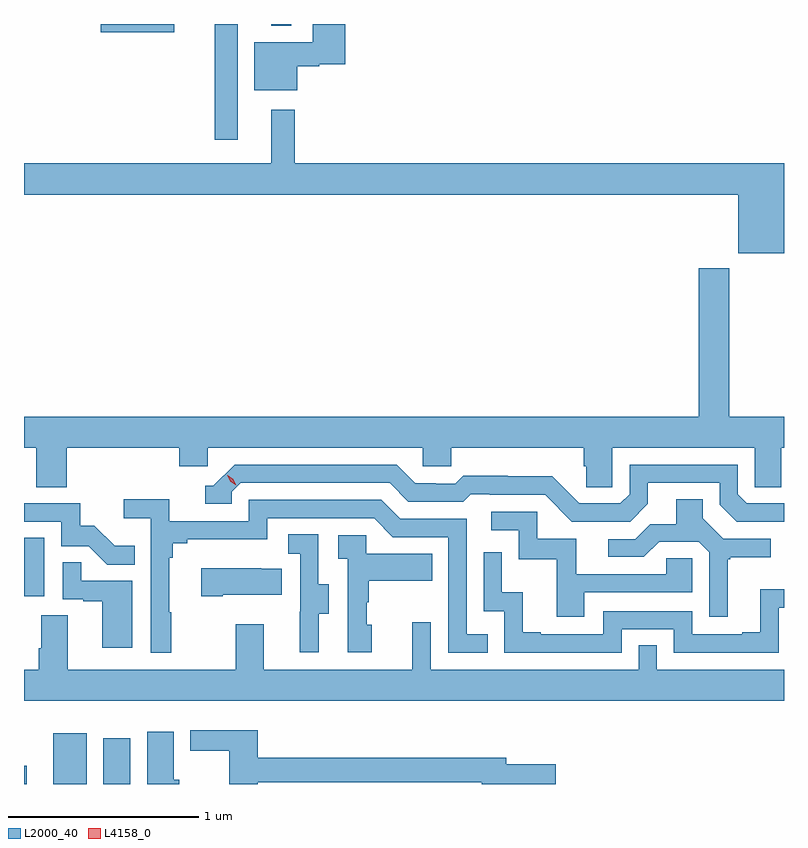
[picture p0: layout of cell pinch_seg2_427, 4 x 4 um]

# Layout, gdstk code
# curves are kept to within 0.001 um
import gdstk
lib = gdstk.Library(unit=1e-6, precision=1e-09)
def R(c, l, rs):  # rectangles x0, y0, x1, y1
    for r in rs: c.add(gdstk.rectangle(r[:2], r[2:], *l))
def P(c, l, *ps):  # polygons
    for p in ps: c.add(gdstk.Polygon(p, *l))
L2000_40 = (2000, 40)
L4158_0 = (4158, 0)

pinch_seg2_427 = lib.new_cell('pinch_seg2_427')
R(pinch_seg2_427, L2000_40, [(935.273,613.898,935.287,613.993), (935.426,613.898,935.602,614.164), (935.69,613.898,935.833,614.14), (935.273,614.886,935.38,615.193), (936.276,617.289,936.397,617.898), (935.676,617.855,936.064,617.898), (936.575,617.888,936.679,617.898)])
P(pinch_seg2_427, L2000_40, [(936.712,617.675),(936.828,617.675),(936.828,617.687),(936.965,617.687),(936.965,617.898),(936.794,617.898),(936.794,617.803),(936.485,617.803),(936.485,617.549),(936.712,617.549)],
  [(939.273,617.164),(936.697,617.164),(936.697,617.446),(936.575,617.446),(936.575,617.164),(935.273,617.164),(935.273,617),(939.032,617),(939.032,616.691),(939.273,616.691)],
  [(935.498,615.668),(936.089,615.668),(936.089,615.57),(936.24,615.57),(936.24,615.668),(937.371,615.668),(937.371,615.57),(937.521,615.57),(937.521,615.668),(938.219,615.668),(938.219,615.57),(938.233,615.57),(938.233,615.46),(938.37,615.46),(938.37,615.668),(939.12,615.668),(939.12,615.46),(939.259,615.46),(939.259,615.668),(939.273,615.668),(939.273,615.832),(938.985,615.832),(938.985,616.612),(938.825,616.612),(938.825,615.832),(935.273,615.832),(935.273,615.668),(935.338,615.668),(935.338,615.46),(935.498,615.46)],
  [(939.273,615.375),(939.078,615.375),(939.03,615.423),(939.03,615.579),(938.46,615.579),(938.46,615.423),(938.412,615.375),(938.196,615.375),(938.054,615.517),(937.818,615.517),(937.818,615.52),(937.585,615.52),(937.543,615.477),(937.44,615.477),(937.44,615.48),(937.333,615.48),(937.234,615.579),(936.381,615.579),(936.27,615.468),(936.227,615.468),(936.227,615.372),(936.366,615.372),(936.366,615.435),(936.414,615.483),(937.197,615.483),(937.296,615.384),(937.585,615.384),(937.624,615.423),(937.723,615.423),(937.723,615.42),(938.016,615.42),(938.157,615.279),(938.463,615.279),(938.557,615.373),(938.557,615.483),(938.934,615.483),(938.934,615.369),(939.024,615.279),(939.273,615.278)],
  [(938.977,615.081),(938.989,615.081),(938.989,615.092),(939.202,615.092),(939.202,615.189),(938.952,615.189),(938.845,615.296),(938.845,615.398),(938.705,615.398),(938.705,615.266),(938.57,615.266),(938.49,615.186),(938.349,615.186),(938.349,615.093),(938.536,615.093),(938.617,615.174),(938.823,615.174),(938.88,615.117),(938.88,614.778),(938.977,614.778)],
  [(936.049,614.801),(936.037,614.801),(936.037,615.089),(936.056,615.089),(936.056,615.166),(936.133,615.166),(936.133,615.185),(936.552,615.185),(936.552,615.297),(937.116,615.297),(937.215,615.198),(937.506,615.198),(937.506,614.589),(937.715,614.589),(937.715,614.685),(937.602,614.685),(937.602,615.294),(937.252,615.294),(937.153,615.393),(936.456,615.393),(936.456,615.282),(936.038,615.282),(936.038,615.398),(935.799,615.398),(935.799,615.296),(935.94,615.296),(935.94,614.589),(936.049,614.589)],
  [(935.855,615.151),(935.751,615.151),(935.644,615.258),(935.568,615.258),(935.568,615.375),(935.273,615.375),(935.273,615.279),(935.469,615.279),(935.469,615.15),(935.613,615.15),(935.711,615.052),(935.855,615.052)],
  [(938.221,614.907),(938.79,614.907),(938.79,615.087),(938.653,615.087),(938.653,615.003),(938.179,615.003),(938.179,615.189),(937.974,615.189),(937.974,615.33),(937.731,615.33),(937.731,615.234),(937.878,615.234),(937.878,615.081),(938.077,615.081),(938.077,614.778),(938.221,614.778)],
  [(936.823,614.794),(936.877,614.794),(936.877,614.949),(936.822,614.949),(936.822,615.212),(936.663,615.212),(936.663,615.109),(936.726,615.109),(936.726,614.805),(936.725,614.805),(936.725,614.592),(936.823,614.592)],
  [(937.102,614.736),(937.077,614.736),(937.077,614.855),(937.087,614.855),(937.087,614.969),(937.421,614.969),(937.421,615.109),(937.074,615.109),(937.074,615.207),(936.927,615.207),(936.927,615.083),(936.978,615.083),(936.978,614.592),(937.102,614.592)],
  [(938.418,614.712),(938.694,614.712),(938.694,614.589),(939.246,614.589),(939.246,614.825),(939.273,614.825),(939.273,614.923),(939.149,614.923),(939.149,614.698),(939.053,614.698),(939.053,614.685),(938.79,614.685),(938.79,614.808),(938.322,614.808),(938.322,614.685),(937.993,614.685),(937.993,614.698),(937.898,614.698),(937.898,614.906),(937.788,614.906),(937.788,615.118),(937.692,615.118),(937.692,614.808),(937.8,614.808),(937.8,614.589),(938.418,614.589)],
  [(935.842,614.967),(935.573,614.967),(935.573,615.065),(935.478,615.065),(935.478,614.871),(935.585,614.871),(935.585,614.859),(935.684,614.859),(935.684,614.616),(935.842,614.616)],
  [(936.319,614.894),(936.629,614.894),(936.629,615.031),(936.521,615.031),(936.521,615.034),(936.207,615.034),(936.207,614.887),(936.319,614.887)],
  [(939.273,614.5),(938.604,614.5),(938.604,614.627),(938.508,614.627),(938.508,614.5),(937.413,614.5),(937.413,614.749),(937.316,614.749),(937.316,614.5),(936.535,614.5),(936.535,614.74),(936.388,614.74),(936.388,614.5),(935.503,614.5),(935.503,614.786),(935.363,614.786),(935.363,614.612),(935.351,614.612),(935.351,614.5),(935.273,614.5),(935.273,614.336),(939.273,614.336)],
  [(936.503,613.906),(937.682,613.906),(937.682,613.898),(938.071,613.898),(938.071,614.001),(937.81,614.001),(937.81,614.035),(936.503,614.035),(936.503,614.182),(936.147,614.182),(936.147,614.073),(936.352,614.073),(936.352,613.898),(936.503,613.898)],
  [(936.091,613.92),(936.061,613.92),(936.061,614.173),(935.921,614.173),(935.921,613.898),(936.091,613.898)])
P(pinch_seg2_427, L4158_0, [(936.39,615.47),(936.36,615.49),(936.344,615.522),(936.344,615.522),(936.345,615.522),(936.375,615.503),(936.391,615.47),(936.391,615.47)])

lib.write_gds('pinch_seg2_427.gds')
